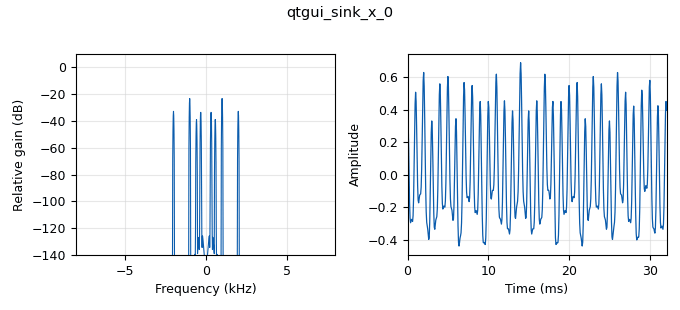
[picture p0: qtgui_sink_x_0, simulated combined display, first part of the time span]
<?xml version='1.0' encoding='utf-8'?>
<?grc format='1' created='3.7.11'?>
<flow_graph>
<block>
<key>options</key>
<param><key>id</key><value>top_block</value></param>
<param><key>generate_options</key><value>qt_gui</value></param>
</block>
<block>
<key>variable</key>
<param><key>id</key><value>samp_rate</value></param>
<param><key>value</key><value>16000</value></param>
</block>
<block>
<key>analog_sig_source_x</key>
<param><key>id</key><value>analog_sig_source_x_0</value></param>
<param><key>amp</key><value>0.25</value></param>
<param><key>freq</key><value>320</value></param>
<param><key>offset</key><value>0</value></param>
<param><key>type</key><value>float</value></param>
<param><key>samp_rate</key><value>samp_rate</value></param>
<param><key>waveform</key><value>analog.GR_COS_WAVE</value></param>
</block>
<block>
<key>analog_sig_source_x</key>
<param><key>id</key><value>analog_sig_source_x_0_0</value></param>
<param><key>amp</key><value>0.125</value></param>
<param><key>freq</key><value>580</value></param>
<param><key>offset</key><value>0</value></param>
<param><key>type</key><value>float</value></param>
<param><key>samp_rate</key><value>samp_rate</value></param>
<param><key>waveform</key><value>analog.GR_COS_WAVE</value></param>
</block>
<block>
<key>analog_sig_source_x</key>
<param><key>id</key><value>analog_sig_source_x_0_1</value></param>
<param><key>amp</key><value>0.25</value></param>
<param><key>freq</key><value>2000</value></param>
<param><key>offset</key><value>0</value></param>
<param><key>type</key><value>float</value></param>
<param><key>samp_rate</key><value>samp_rate</value></param>
<param><key>waveform</key><value>analog.GR_COS_WAVE</value></param>
</block>
<block>
<key>analog_sig_source_x</key>
<param><key>id</key><value>analog_sig_source_x_0_2</value></param>
<param><key>amp</key><value>0.75</value></param>
<param><key>freq</key><value>1000</value></param>
<param><key>offset</key><value>0</value></param>
<param><key>type</key><value>float</value></param>
<param><key>samp_rate</key><value>samp_rate</value></param>
<param><key>waveform</key><value>analog.GR_COS_WAVE</value></param>
</block>
<block>
<key>blocks_add_xx</key>
<param><key>id</key><value>blocks_add_xx_0</value></param>
<param><key>type</key><value>float</value></param>
<param><key>num_inputs</key><value>4</value></param>
</block>
<block>
<key>blocks_multiply_const_vxx</key>
<param><key>id</key><value>blocks_multiply_const_vxx_0</value></param>
<param><key>const</key><value>0.5</value></param>
<param><key>type</key><value>float</value></param>
</block>
<block>
<key>blocks_throttle</key>
<param><key>id</key><value>blocks_throttle_0</value></param>
<param><key>samples_per_second</key><value>samp_rate</value></param>
<param><key>type</key><value>float</value></param>
</block>
<block>
<key>blocks_wavfile_sink</key>
<param><key>id</key><value>blocks_wavfile_sink_0</value></param>
<param><key>bits_per_sample</key><value>8</value></param>
<param><key>file</key><value>/home/ecg/Dropbox/UFCG/Disciplinas/PDS/ExemplosUsandoGRC/sinal_2.wav</value></param>
<param><key>samp_rate</key><value>samp_rate</value></param>
</block>
<block>
<key>qtgui_sink_x</key>
<param><key>id</key><value>qtgui_sink_x_0</value></param>
<param><key>bw</key><value>samp_rate</value></param>
<param><key>fc</key><value>0</value></param>
<param><key>freqchangevar</key><value>None</value></param>
<param><key>fftsize</key><value>1024</value></param>
<param><key>showports</key><value>True</value></param>
<param><key>type</key><value>float</value></param>
<param><key>wintype</key><value>firdes.WIN_BLACKMAN_hARRIS</value></param>
</block>
<connection><source_block_id>analog_sig_source_x_0</source_block_id><sink_block_id>blocks_throttle_0</sink_block_id><source_key>0</source_key><sink_key>0</sink_key></connection>
<connection><source_block_id>analog_sig_source_x_0_0</source_block_id><sink_block_id>blocks_add_xx_0</sink_block_id><source_key>0</source_key><sink_key>1</sink_key></connection>
<connection><source_block_id>analog_sig_source_x_0_1</source_block_id><sink_block_id>blocks_add_xx_0</sink_block_id><source_key>0</source_key><sink_key>3</sink_key></connection>
<connection><source_block_id>analog_sig_source_x_0_2</source_block_id><sink_block_id>blocks_add_xx_0</sink_block_id><source_key>0</source_key><sink_key>2</sink_key></connection>
<connection><source_block_id>blocks_add_xx_0</source_block_id><sink_block_id>blocks_multiply_const_vxx_0</sink_block_id><source_key>0</source_key><sink_key>0</sink_key></connection>
<connection><source_block_id>blocks_multiply_const_vxx_0</source_block_id><sink_block_id>blocks_wavfile_sink_0</sink_block_id><source_key>0</source_key><sink_key>0</sink_key></connection>
<connection><source_block_id>blocks_multiply_const_vxx_0</source_block_id><sink_block_id>qtgui_sink_x_0</sink_block_id><source_key>0</source_key><sink_key>0</sink_key></connection>
<connection><source_block_id>blocks_throttle_0</source_block_id><sink_block_id>blocks_add_xx_0</sink_block_id><source_key>0</source_key><sink_key>0</sink_key></connection>
</flow_graph>
